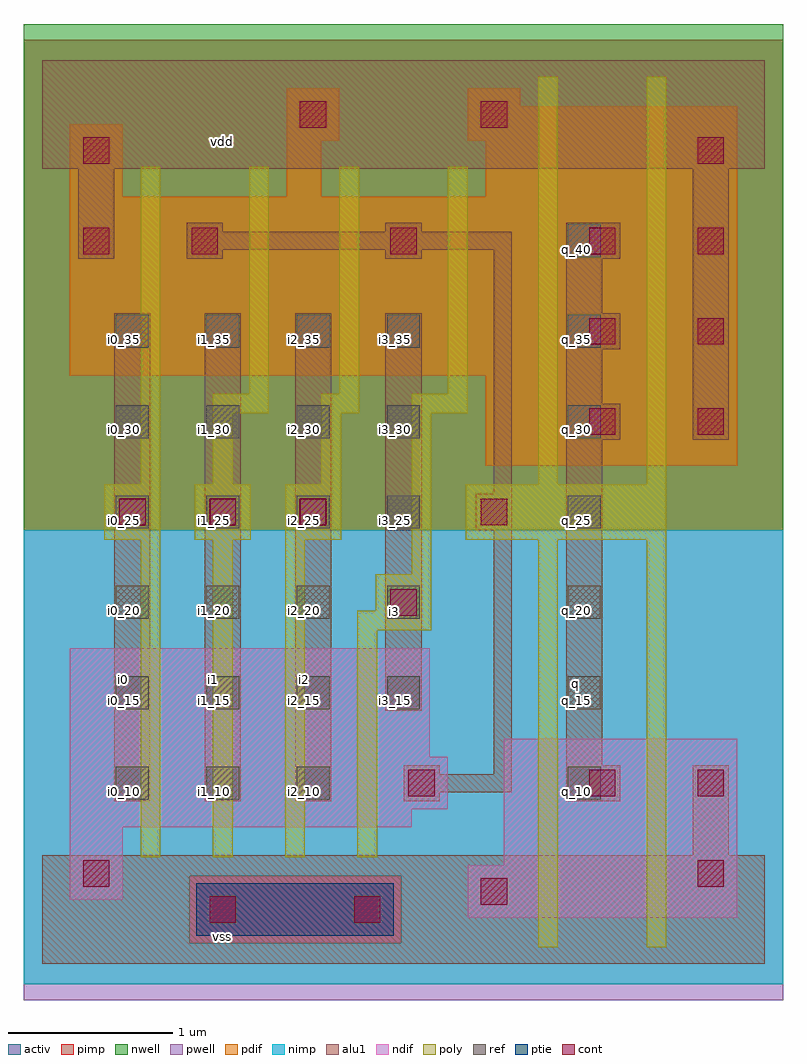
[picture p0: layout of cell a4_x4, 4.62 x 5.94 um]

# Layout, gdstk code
import gdstk
lib = gdstk.Library(unit=1e-6, precision=2.5e-09)
def R(c, l, rs):  # rectangles x0, y0, x1, y1
    for r in rs: c.add(gdstk.rectangle(r[:2], r[2:], *l))
def A(c, l, x, y, w, h, nx, ny, dx, dy):  # array of equal rectangles
    R(c, l, [(x+i*dx, y+j*dy, x+i*dx+w, y+j*dy+h) for i in range(nx) for j in range(ny)])
ndif = (3, 0)
pdif = (4, 0)
ptie = (6, 0)
ref = (24, 0)
cont = (25, 0)
pwell = (41, 0)
nwell = (42, 0)
activ = (43, 0)
pimp = (44, 0)
nimp = (45, 0)
poly = (46, 0)
alu1 = (49, 0)

a4_x4 = lib.new_cell('a4_x4')
R(a4_x4, ndif, [(2.59,0.28,4.23,0.6), (2.59,0.28,4.23,0.6), (0.17,0.39,0.49,0.83), (0.17,0.39,0.49,0.83), (2.81,0.6,4.23,1.37), (2.81,0.6,4.23,1.37), (0.17,0.83,2.25,0.94), (0.17,0.83,2.25,0.94), (0.17,0.94,2.47,1.26), (0.17,0.94,2.47,1.26), (0.17,1.26,2.36,1.92), (0.17,1.26,2.36,1.92)])
R(a4_x4, pdif, [(2.7,3.03,4.23,3.58), (2.7,3.03,4.23,3.58), (0.17,3.58,4.23,4.67), (0.17,3.58,4.23,4.67), (0.17,4.67,0.49,5.11), (0.17,4.67,0.49,5.11), (1.49,4.67,1.7,5.01), (1.49,4.67,1.7,5.01), (2.7,4.67,4.23,5.01), (2.7,4.67,4.23,5.01), (1.49,5.01,1.81,5.33), (1.49,5.01,1.81,5.33), (2.59,5.01,4.23,5.22), (2.59,5.01,4.23,5.22), (2.59,5.22,2.91,5.33), (2.59,5.22,2.91,5.33)])
R(a4_x4, ptie, [(0.94,0.17,2.14,0.49), (0.94,0.17,2.14,0.49)])
A(a4_x4, ref, 0.45, 1, 0.2, 0.2, 3, 1, 0.55, 0)
A(a4_x4, ref, 3.2, 1, 0.2, 0.2, 1, 7, 0, 0.55)
A(a4_x4, ref, 0.45, 1.55, 0.2, 0.2, 4, 5, 0.55, 0.55)
A(a4_x4, cont, 0.47, 2.67, 0.16, 0.16, 3, 1, 0.55, 0)
A(a4_x4, cont, 3.99, 3.22, 0.16, 0.16, 1, 4, 0, 0.55)
A(a4_x4, cont, 0.91, 4.32, 0.16, 0.16, 3, 1, 1.21, 0)
R(a4_x4, cont, [(1.02,0.25,1.18,0.41), (1.9,0.25,2.06,0.41), (2.67,0.36,2.83,0.52), (0.25,0.47,0.41,0.63), (3.99,0.47,4.15,0.63), (2.23,1.02,2.39,1.18), (3.33,1.02,3.49,1.18), (3.99,1.02,4.15,1.18), (2.12,2.12,2.28,2.28), (2.67,2.67,2.83,2.83), (3.33,3.22,3.49,3.38), (3.33,3.77,3.49,3.93), (0.25,4.32,0.41,4.48), (0.25,4.87,0.41,5.03), (1.57,5.09,1.73,5.25), (2.67,5.09,2.83,5.25)])
R(a4_x4, pwell, [(-0.11,-0.22,4.51,2.64)])
R(a4_x4, nwell, [(-0.11,2.64,4.51,5.72)])
R(a4_x4, activ, [(0.94,0.17,2.14,0.49), (0.94,0.17,2.14,0.49), (2.59,0.28,4.23,0.6), (2.59,0.28,4.23,0.6), (0.17,0.39,0.49,0.83), (0.17,0.39,0.49,0.83), (2.81,0.6,4.23,1.37), (2.81,0.6,4.23,1.37), (0.17,0.83,2.25,0.94), (0.17,0.83,2.25,0.94), (0.17,0.94,2.47,1.26), (0.17,0.94,2.47,1.26), (0.17,1.26,2.36,1.92), (0.17,1.26,2.36,1.92), (2.7,3.03,4.23,3.58), (2.7,3.03,4.23,3.58), (0.17,3.58,4.23,4.67), (0.17,3.58,4.23,4.67), (0.17,4.67,0.49,5.11), (0.17,4.67,0.49,5.11), (1.49,4.67,1.7,5.01), (1.49,4.67,1.7,5.01), (2.7,4.67,4.23,5.01), (2.7,4.67,4.23,5.01), (1.49,5.01,1.81,5.33), (1.49,5.01,1.81,5.33), (2.59,5.01,4.23,5.22), (2.59,5.01,4.23,5.22), (2.59,5.22,2.91,5.33), (2.59,5.22,2.91,5.33)])
R(a4_x4, pimp, [(0.895,0.125,2.185,0.535), (-0.11,2.64,4.51,5.625)])
R(a4_x4, nimp, [(-0.11,-0.125,4.51,0.125), (-0.11,0.125,0.895,0.535), (2.185,0.125,4.51,0.535), (-0.11,0.535,4.51,2.64)])
A(a4_x4, poly, 0.6, 0.65, 0.12, 1.93, 3, 1, 0.44, 0)
A(a4_x4, poly, 0.38, 2.58, 0.34, 0.34, 3, 1, 0.55, 0)
R(a4_x4, poly, [(3.02,0.1,3.14,2.58), (3.68,0.1,3.8,2.58), (1.92,0.65,2.04,2.03), (1.92,2.03,2.37,2.15), (2.03,2.15,2.37,2.37), (2.25,2.37,2.37,3.35), (2.58,2.58,3.8,2.92), (0.6,2.92,0.72,4.85), (1.04,2.92,1.16,3.35), (1.7,2.92,1.82,3.35), (3.02,2.92,3.14,5.4), (3.68,2.92,3.8,5.4), (1.04,3.35,1.38,3.47), (1.7,3.35,1.93,3.47), (2.25,3.35,2.59,3.47), (1.26,3.47,1.38,4.85), (1.81,3.47,1.93,4.85), (2.47,3.47,2.59,4.85)])
A(a4_x4, alu1, 0.44, 0.99, 0.22, 2.97, 3, 1, 0.55, 0)
A(a4_x4, alu1, 3.19, 3.19, 0.33, 0.22, 1, 3, 0, 0.55)
R(a4_x4, alu1, [(0,0,4.4,0.66), (3.96,0.66,4.18,1.21), (2.2,0.99,2.42,1.045), (3.19,0.99,3.52,1.21), (2.2,1.045,2.86,1.155), (2.2,1.155,2.42,1.21), (2.75,1.155,2.86,2.64), (3.19,1.21,3.41,3.19), (2.09,1.54,2.31,3.96), (2.64,2.64,2.86,2.86), (2.75,2.86,2.86,4.345), (3.96,3.19,4.18,4.84), (3.19,3.41,3.41,3.74), (3.19,3.96,3.41,4.29), (0.22,4.29,0.44,4.84), (0.88,4.29,1.1,4.345), (2.09,4.29,2.31,4.345), (0.88,4.345,2.86,4.455), (0.88,4.455,1.1,4.51), (2.09,4.455,2.31,4.51), (0,4.84,4.4,5.5)])
a4_x4.add(gdstk.Label('vss', (1.1,0.165), layer=49, texttype=0))
a4_x4.add(gdstk.Label('q', (3.245,1.705), layer=49, texttype=0))
a4_x4.add(gdstk.Label('i3', (2.145,2.145), layer=49, texttype=0))
a4_x4.add(gdstk.Label('i2', (1.595,1.7325), layer=49, texttype=0))
a4_x4.add(gdstk.Label('i1', (1.045,1.7325), layer=49, texttype=0))
a4_x4.add(gdstk.Label('i0', (0.495,1.7325), layer=49, texttype=0))
a4_x4.add(gdstk.Label('vdd', (1.1,5.005), layer=49, texttype=0))
a4_x4.add(gdstk.Label('i2_10', (1.6,1.05), layer=24, texttype=0))
a4_x4.add(gdstk.Label('i1_10', (1.05,1.05), layer=24, texttype=0))
a4_x4.add(gdstk.Label('i0_10', (0.5,1.05), layer=24, texttype=0))
a4_x4.add(gdstk.Label('q_10', (3.25,1.05), layer=24, texttype=0))
a4_x4.add(gdstk.Label('q_15', (3.25,1.6), layer=24, texttype=0))
a4_x4.add(gdstk.Label('q_20', (3.25,2.15), layer=24, texttype=0))
a4_x4.add(gdstk.Label('q_25', (3.25,2.7), layer=24, texttype=0))
a4_x4.add(gdstk.Label('q_30', (3.25,3.25), layer=24, texttype=0))
a4_x4.add(gdstk.Label('q_35', (3.25,3.8), layer=24, texttype=0))
a4_x4.add(gdstk.Label('q_40', (3.25,4.35), layer=24, texttype=0))
a4_x4.add(gdstk.Label('i1_25', (1.05,2.7), layer=24, texttype=0))
a4_x4.add(gdstk.Label('i1_20', (1.05,2.15), layer=24, texttype=0))
a4_x4.add(gdstk.Label('i1_15', (1.05,1.6), layer=24, texttype=0))
a4_x4.add(gdstk.Label('i2_15', (1.6,1.6), layer=24, texttype=0))
a4_x4.add(gdstk.Label('i2_20', (1.6,2.15), layer=24, texttype=0))
a4_x4.add(gdstk.Label('i1_35', (1.05,3.8), layer=24, texttype=0))
a4_x4.add(gdstk.Label('i2_30', (1.6,3.25), layer=24, texttype=0))
a4_x4.add(gdstk.Label('i2_35', (1.6,3.8), layer=24, texttype=0))
a4_x4.add(gdstk.Label('i3_35', (2.15,3.8), layer=24, texttype=0))
a4_x4.add(gdstk.Label('i3_30', (2.15,3.25), layer=24, texttype=0))
a4_x4.add(gdstk.Label('i3_25', (2.15,2.7), layer=24, texttype=0))
a4_x4.add(gdstk.Label('i3_20', (2.15,2.15), layer=24, texttype=0))
a4_x4.add(gdstk.Label('i3_15', (2.15,1.6), layer=24, texttype=0))
a4_x4.add(gdstk.Label('i1_30', (1.05,3.25), layer=24, texttype=0))
a4_x4.add(gdstk.Label('i2_25', (1.6,2.7), layer=24, texttype=0))
a4_x4.add(gdstk.Label('i0_35', (0.5,3.8), layer=24, texttype=0))
a4_x4.add(gdstk.Label('i0_30', (0.5,3.25), layer=24, texttype=0))
a4_x4.add(gdstk.Label('i0_25', (0.5,2.7), layer=24, texttype=0))
a4_x4.add(gdstk.Label('i0_20', (0.5,2.15), layer=24, texttype=0))
a4_x4.add(gdstk.Label('i0_15', (0.5,1.6), layer=24, texttype=0))

lib.write_gds('a4_x4.gds')
